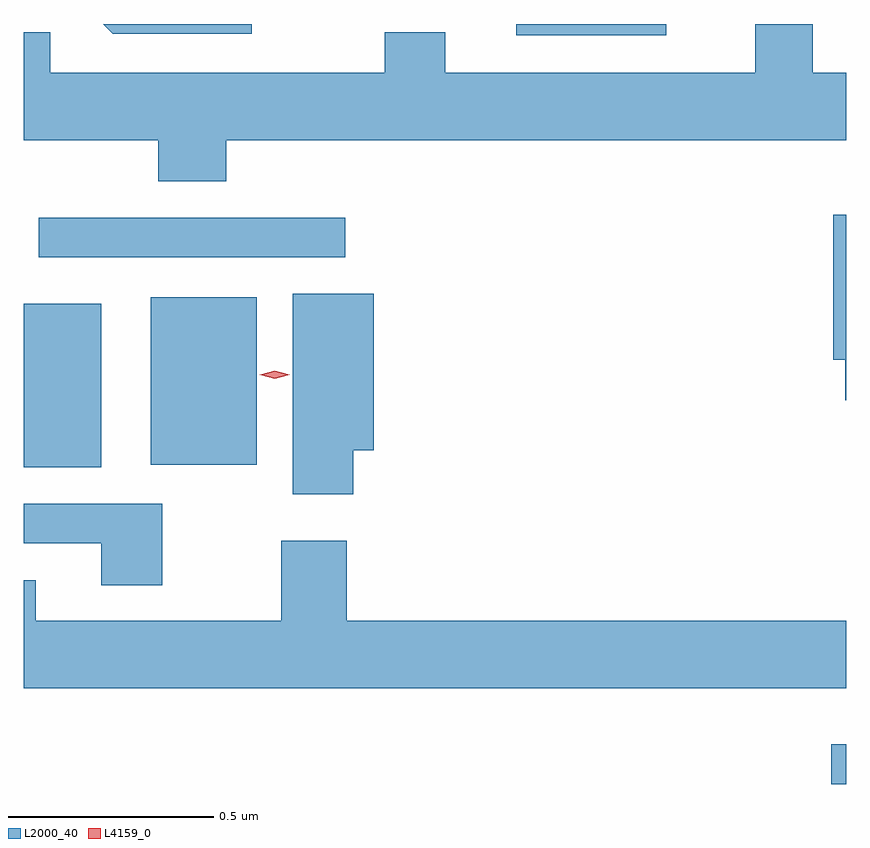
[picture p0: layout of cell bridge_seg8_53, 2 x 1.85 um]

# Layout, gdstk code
import gdstk
lib = gdstk.Library(unit=1e-6, precision=1e-09)
def R(c, l, rs):  # rectangles x0, y0, x1, y1
    for r in rs: c.add(gdstk.rectangle(r[:2], r[2:], *l))
def P(c, l, *ps):  # polygons
    for p in ps: c.add(gdstk.Polygon(p, *l))
L2000_40 = (2000, 40)
L4159_0 = (4159, 0)

bridge_seg8_53 = lib.new_cell('bridge_seg8_53')
R(bridge_seg8_53, L2000_40, [(1085.961,1105.611,1085.998,1105.708), (1083.998,1106.381,1084.186,1106.779), (1084.307,1106.387,1084.564,1106.794), (1084.035,1106.892,1084.78,1106.988), (1085.195,1107.432,1085.56,1107.459)])
P(bridge_seg8_53, L2000_40, [(1084.49,1107.176),(1085.998,1107.176),(1085.998,1107.34),(1085.917,1107.34),(1085.917,1107.459),(1085.777,1107.459),(1085.777,1107.34),(1085.023,1107.34),(1085.023,1107.439),(1084.876,1107.439),(1084.876,1107.34),(1084.062,1107.34),(1084.062,1107.439),(1083.998,1107.439),(1083.998,1107.176),(1084.325,1107.176),(1084.325,1107.077),(1084.49,1107.077)],
  [(1084.552,1107.459),(1084.191,1107.459),(1084.215,1107.435),(1084.552,1107.435)],
  [(1085.998,1106.995),(1085.966,1106.995),(1085.966,1106.642),(1085.996,1106.642),(1085.996,1106.544),(1085.998,1106.544)],
  [(1084.799,1106.423),(1084.849,1106.423),(1084.849,1106.803),(1084.652,1106.803),(1084.652,1106.316),(1084.799,1106.316)],
  [(1084.335,1106.292),(1083.998,1106.292),(1083.998,1106.196),(1084.187,1106.196),(1084.187,1106.094),(1084.335,1106.094)],
  [(1085.998,1106.008),(1084.784,1106.008),(1084.784,1106.203),(1084.624,1106.203),(1084.624,1106.008),(1084.027,1106.008),(1084.027,1106.107),(1083.998,1106.107),(1083.998,1105.844),(1085.998,1105.844)])
P(bridge_seg8_53, L4159_0, [(1084.608,1106.596),(1084.572,1106.606),(1084.572,1106.606),(1084.572,1106.606),(1084.608,1106.616),(1084.645,1106.606),(1084.645,1106.606),(1084.645,1106.606)])

lib.write_gds('bridge_seg8_53.gds')
